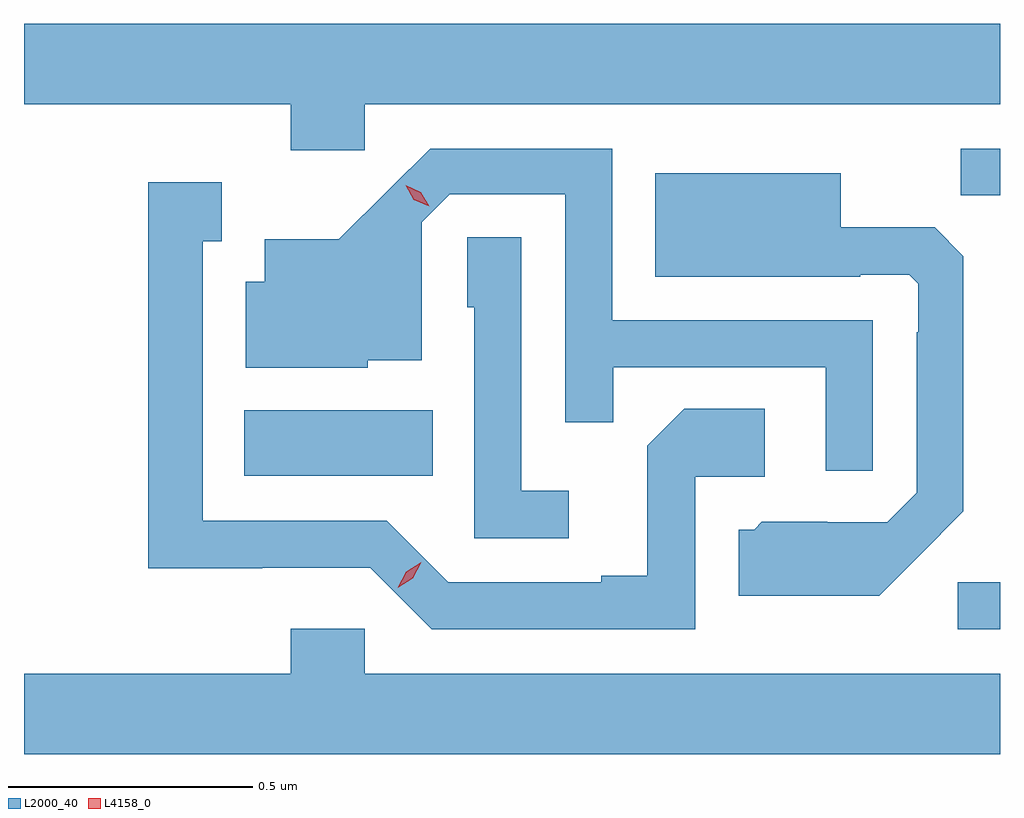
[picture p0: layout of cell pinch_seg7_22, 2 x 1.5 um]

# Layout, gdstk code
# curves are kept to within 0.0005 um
import gdstk
lib = gdstk.Library(unit=1e-6, precision=1e-09)
def R(c, l, rs):  # rectangles x0, y0, x1, y1
    for r in rs: c.add(gdstk.rectangle(r[:2], r[2:], *l))
def P(c, l, *ps):  # polygons
    for p in ps: c.add(gdstk.Polygon(p, *l))
L2000_40 = (2000, 40)
L4158_0 = (4158, 0)

pinch_seg7_22 = lib.new_cell('pinch_seg7_22')
R(pinch_seg7_22, L2000_40, [(1021.281,1059.48,1021.368,1059.576), (1019.819,1059.794,1020.206,1059.928), (1021.288,1060.369,1021.368,1060.464)])
P(pinch_seg7_22, L2000_40, [(1020.066,1060.556),(1021.368,1060.556),(1021.368,1060.72),(1019.368,1060.72),(1019.368,1060.556),(1019.915,1060.556),(1019.915,1060.461),(1020.066,1060.461)],
  [(1021.107,1060.113),(1020.573,1060.113),(1020.573,1060.464),(1020.2,1060.464),(1020.013,1060.279),(1019.861,1060.279),(1019.861,1060.192),(1019.822,1060.192),(1019.822,1060.016),(1020.072,1060.016),(1020.072,1060.031),(1020.183,1060.031),(1020.183,1060.314),(1020.24,1060.371),(1020.477,1060.371),(1020.477,1059.904),(1020.575,1059.904),(1020.575,1060.017),(1021.011,1060.017),(1021.011,1059.804),(1021.107,1059.804)],
  [(1021.201,1059.629),(1021.293,1059.722),(1021.293,1060.244),(1021.234,1060.303),(1021.042,1060.303),(1021.042,1060.414),(1020.662,1060.414),(1020.662,1060.202),(1021.082,1060.202),(1021.082,1060.206),(1021.182,1060.206),(1021.2,1060.188),(1021.2,1060.088),(1021.197,1060.088),(1021.197,1059.759),(1021.137,1059.699),(1021.014,1059.699),(1021.014,1059.7),(1020.88,1059.7),(1020.864,1059.684),(1020.833,1059.684),(1020.833,1059.548),(1021.121,1059.548)],
  [(1020.744,1059.792),(1020.886,1059.792),(1020.886,1059.932),(1020.721,1059.932),(1020.645,1059.856),(1020.645,1059.589),(1020.551,1059.589),(1020.551,1059.576),(1020.237,1059.576),(1020.111,1059.702),(1019.734,1059.702),(1019.734,1060.275),(1019.773,1060.275),(1019.773,1060.396),(1019.623,1060.396),(1019.623,1059.605),(1019.856,1059.605),(1019.856,1059.606),(1020.078,1059.606),(1020.204,1059.48),(1020.744,1059.48)],
  [(1020.484,1059.763),(1020.387,1059.763),(1020.387,1060.283),(1020.276,1060.283),(1020.276,1060.14),(1020.291,1060.14),(1020.291,1059.666),(1020.484,1059.666)],
  [(1021.368,1059.388),(1020.066,1059.388),(1020.066,1059.481),(1019.915,1059.481),(1019.915,1059.388),(1019.368,1059.388),(1019.368,1059.224),(1021.368,1059.224)])
P(pinch_seg7_22, L4158_0, [(1020.198,1060.346),(1020.167,1060.36),(1020.15,1060.39),(1020.15,1060.39),(1020.15,1060.39),(1020.181,1060.375),(1020.198,1060.346),(1020.198,1060.346)],
  [(1020.134,1059.565),(1020.134,1059.565),(1020.151,1059.598),(1020.182,1059.617),(1020.182,1059.617),(1020.182,1059.617),(1020.165,1059.584),(1020.134,1059.565)])

lib.write_gds('pinch_seg7_22.gds')
